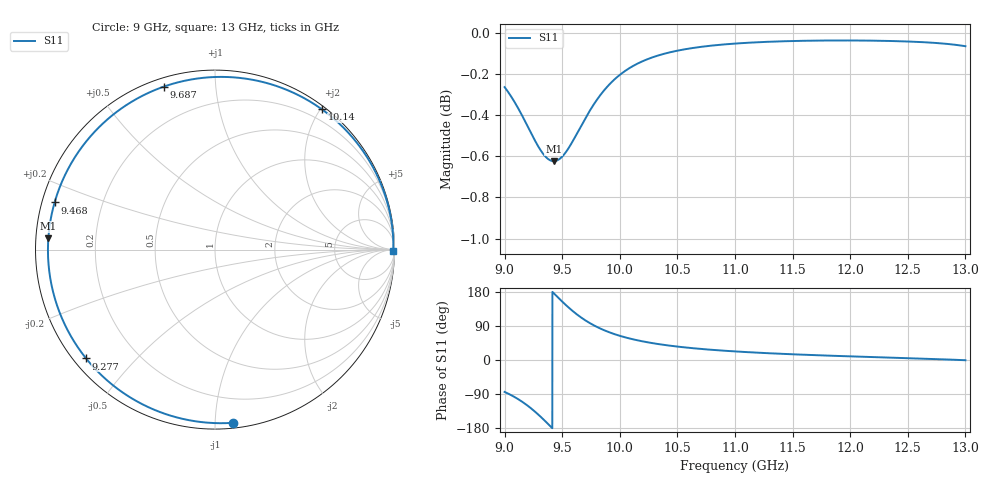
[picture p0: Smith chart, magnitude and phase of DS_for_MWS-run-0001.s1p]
! TOUCHSTONE file generated by CST DESIGN STUDIO
! Date and time: Tue Feb  4 12:46:45 2025
! Project name: C:\Work\MatlabApps\UnitCellOptimizationMatlab\CST\unitcell.cst
! Tree item: Tasks\Sweep1\SPara1\S-Parameters
! Header version: 2024
! Port assignment regex: !\s*Touchstone port\s*([0-9]+)\s*=\s*(CST MWS port|CST DES external port|CST DES block port)\s*(.+)\s* \(\"(.*)\"\)(\s*mode\s*([0-9]+))?.*
! Touchstone port assignment:
! Touchstone port 1 = CST DES external port 1 ("")
# GHz S MA R 50
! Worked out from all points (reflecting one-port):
!   4001 points, 9 GHz to 13 GHz, reference 50 ohm
!   lowest |S11| = -0.6 dB at 9.427 GHz (marker M1), VSWR 27.85, Z = 1.8 + j1.71 ohm
!   phase of S11 starts at -84 deg and turns -276 deg over the sweep
!   S11 on the Smith chart (normalised r, x): 9 GHz: 0.03, -1.11; 9.277 GHz: 0.04, -0.37; 9.468 GHz: 0.04, +0.14; 9.687 GHz: 0.04, +0.73; 10.14 GHz: 0.04, +2.02; 13 GHz: open
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9  0.9701 -84.2
9.083  0.9624 -97.1
9.153  0.9546 -110.3
9.216  0.9471 -124.3
9.277  0.94 -139.8
9.319  0.9358 -151.5
9.356  0.933 -162.3
9.392  0.9313 -173.2
9.427  0.9307 176.1
9.468  0.9315 163.6
9.5  0.9331 154.1
9.547  0.9367 140.8
9.592  0.9412 129.0
9.638  0.9463 117.9
9.687  0.9518 107.4
9.757  0.9591 94.4
9.84  0.9665 81.8
9.917  0.972 72.2
10  0.9767 63.8
10.142  0.9825 52.7
10.304  0.9868 43.5
10.5  0.9901 35.4
10.723  0.9923 28.7
11  0.994 22.7
11.5  0.9954 15.1
12  0.9957 9.6
12.5  0.9952 4.8
13  0.9925 -0.6
